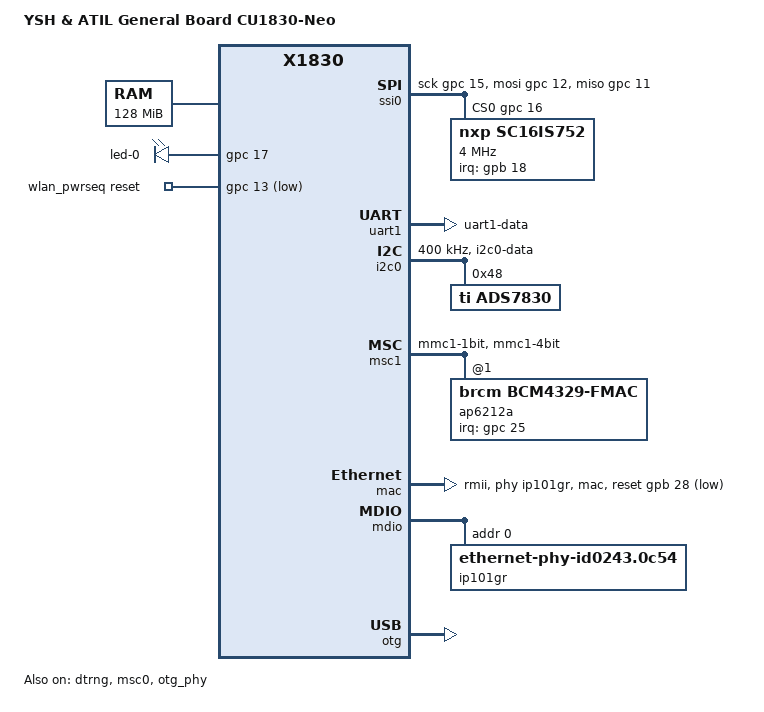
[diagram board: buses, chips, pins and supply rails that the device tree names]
// SPDX-License-Identifier: GPL-2.0
/dts-v1/;

#include "x1830.dtsi"
#include <dt-bindings/gpio/gpio.h>
#include <dt-bindings/clock/ingenic,sysost.h>
#include <dt-bindings/interrupt-controller/irq.h>

/ {
	compatible = "yna,cu1830-neo", "ingenic,x1830";
	model = "YSH & ATIL General Board CU1830-Neo";

	aliases {
		serial1 = &uart1;
	};

	chosen {
		stdout-path = "serial1:115200n8";
	};

	memory {
		device_type = "memory";
		reg = <0x0 0x08000000>;
	};

	leds {
		compatible = "gpio-leds";
		led-0 {
			gpios = <&gpc 17 GPIO_ACTIVE_HIGH>;
			linux,default-trigger = "mmc0";
		};
	};

	ssi0: spi-gpio {
		compatible = "spi-gpio";
		#address-cells = <1>;
		#size-cells = <0>;
		num-chipselects = <1>;

		mosi-gpios = <&gpc 12 GPIO_ACTIVE_HIGH>;
		miso-gpios = <&gpc 11 GPIO_ACTIVE_HIGH>;
		sck-gpios = <&gpc 15 GPIO_ACTIVE_HIGH>;
		cs-gpios = <&gpc 16 GPIO_ACTIVE_HIGH>;

		status = "okay";

		spi-max-frequency = <50000000>;

		sc16is752: expander@0 {
			compatible = "nxp,sc16is752";
			reg = <0>; /* CE0 */
			spi-max-frequency = <4000000>;

			clocks = <&exclk_sc16is752>;

			interrupt-parent = <&gpb>;
			interrupts = <18 IRQ_TYPE_EDGE_FALLING>;

			gpio-controller;
			#gpio-cells = <2>;

			exclk_sc16is752: sc16is752 {
				compatible = "fixed-clock";
				#clock-cells = <0>;
				clock-frequency = <48000000>;
			};
		};
	};

	wlan_pwrseq: msc1-pwrseq {
		compatible = "mmc-pwrseq-simple";

		reset-gpios = <&gpc 13 GPIO_ACTIVE_LOW>;
		post-power-on-delay-ms = <200>;
	};
};

&exclk {
	clock-frequency = <24000000>;
};

&cgu {
	/*
	 * Use the 32.768 kHz oscillator as the parent of the RTC for a higher
	 * precision.
	 */
	assigned-clocks = <&cgu X1830_CLK_RTC>;
	assigned-clock-parents = <&cgu X1830_CLK_RTCLK>;
};

&ost {
	/* 1500 kHz for the system timer and clocksource */
	assigned-clocks = <&ost OST_CLK_PERCPU_TIMER>, <&ost OST_CLK_GLOBAL_TIMER>;
	assigned-clock-rates = <1500000>, <1500000>;
};

&uart1 {
	status = "okay";

	pinctrl-names = "default";
	pinctrl-0 = <&pins_uart1>;
};

&i2c0 {
	status = "okay";

	clock-frequency = <400000>;

	pinctrl-names = "default";
	pinctrl-0 = <&pins_i2c0>;

	ads7830: adc@48 {
		compatible = "ti,ads7830";
		reg = <0x48>;
	};
};

&dtrng {
	status = "okay";
};

&msc0 {
	status = "okay";

	bus-width = <4>;
	max-frequency = <50000000>;

	pinctrl-names = "default";
	pinctrl-0 = <&pins_msc0>;

	non-removable;
};

&msc1 {
	status = "okay";

	#address-cells = <1>;
	#size-cells = <0>;
	bus-width = <4>;
	max-frequency = <50000000>;

	pinctrl-names = "default";
	pinctrl-0 = <&pins_msc1>;

	non-removable;

	mmc-pwrseq = <&wlan_pwrseq>;

	ap6212a: wifi@1 {
		compatible = "brcm,bcm4329-fmac";
		reg = <1>;

		interrupt-parent = <&gpc>;
		interrupts = <25 IRQ_TYPE_EDGE_FALLING>;
		interrupt-names = "host-wake";

		brcm,drive-strength = <10>;
	};
};

&mac {
	status = "okay";

	phy-mode = "rmii";
	phy-handle = <&ip101gr>;

	pinctrl-names = "default";
	pinctrl-0 = <&pins_mac>;

	snps,reset-gpio = <&gpb 28 GPIO_ACTIVE_LOW>; /* PB28 */
	snps,reset-active-low;
	snps,reset-delays-us = <0 10000 30000>;
};

&mdio {
	status = "okay";

	ip101gr: ethernet-phy@0 {
		compatible = "ethernet-phy-id0243.0c54", "ethernet-phy-ieee802.3-c22";
		reg = <0>;
	};
};

&otg_phy {
	status = "okay";
};

&otg {
	status = "okay";
};

&pinctrl {
	pins_uart1: uart1 {
		function = "uart1";
		groups = "uart1-data";
		bias-pull-up;
	};

	pins_i2c0: i2c0 {
		function = "i2c0";
		groups = "i2c0-data";
		bias-pull-up;
	};

	pins_msc0: msc0 {
		function = "mmc0";
		groups = "mmc0-1bit", "mmc0-4bit";
		bias-disable;
	};

	pins_msc1: msc1 {
		function = "mmc1";
		groups = "mmc1-1bit", "mmc1-4bit";
		bias-disable;
	};

	pins_mac: mac {
		function = "mac";
		groups = "mac";
		bias-disable;
	};
};
